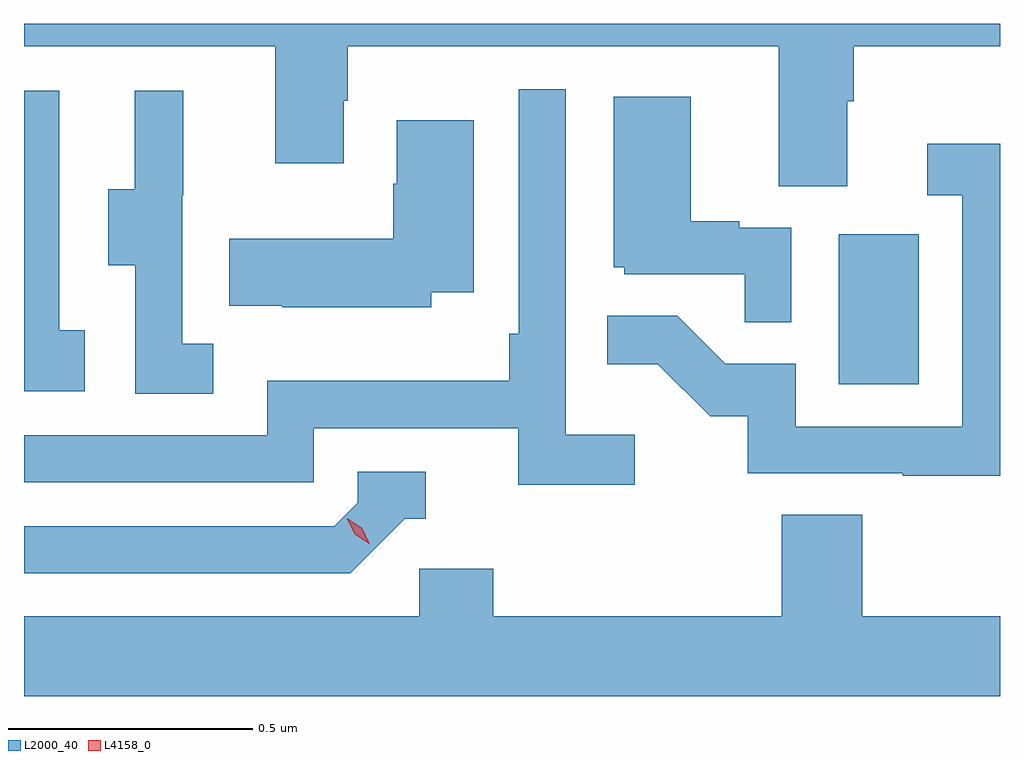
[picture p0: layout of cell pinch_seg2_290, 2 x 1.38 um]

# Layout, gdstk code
import gdstk
lib = gdstk.Library(unit=1e-6, precision=1e-09)
def R(c, l, rs):  # rectangles x0, y0, x1, y1
    for r in rs: c.add(gdstk.rectangle(r[:2], r[2:], *l))
def P(c, l, *ps):  # polygons
    for p in ps: c.add(gdstk.Polygon(p, *l))
L2000_40 = (2000, 40)
L4158_0 = (4158, 0)

pinch_seg2_290 = lib.new_cell('pinch_seg2_290')
R(pinch_seg2_290, L2000_40, [(943.028,645.612,943.192,645.919)])
P(pinch_seg2_290, L2000_40, [(943.045,646.192),(943.058,646.192),(943.058,646.304),(943.358,646.304),(943.358,646.351),(941.358,646.351),(941.358,646.304),(941.873,646.304),(941.873,646.065),(942.013,646.065),(942.013,646.193),(942.021,646.193),(942.021,646.304),(942.905,646.304),(942.905,646.018),(943.045,646.018)],
  [(942.61,645.508),(942.468,645.508),(942.468,646.216),(942.372,646.216),(942.372,645.715),(942.352,645.715),(942.352,645.619),(941.856,645.619),(941.856,645.507),(941.358,645.507),(941.358,645.411),(941.952,645.411),(941.952,645.522),(942.371,645.522),(942.371,645.406),(942.61,645.406)],
  [(941.746,645.695),(941.682,645.695),(941.682,645.999),(941.684,645.999),(941.684,646.213),(941.585,646.213),(941.585,646.011),(941.531,646.011),(941.531,645.856),(941.586,645.856),(941.586,645.592),(941.746,645.592)],
  [(941.482,645.722),(941.43,645.722),(941.43,646.213),(941.358,646.213),(941.358,645.597),(941.482,645.597)],
  [(942.93,645.933),(942.824,645.933),(942.824,645.946),(942.724,645.946),(942.724,646.201),(942.566,646.201),(942.566,645.852),(942.588,645.852),(942.588,645.837),(942.835,645.837),(942.835,645.739),(942.93,645.739)],
  [(942.193,645.8),(942.28,645.8),(942.28,646.153),(942.122,646.153),(942.122,646.023),(942.115,646.023),(942.115,645.91),(941.779,645.91),(941.779,645.773),(941.887,645.773),(941.887,645.77),(942.193,645.77)],
  [(943.358,646.105),(943.209,646.105),(943.209,645.999),(943.281,645.999),(943.281,645.525),(942.939,645.525),(942.939,645.654),(942.795,645.654),(942.697,645.752),(942.553,645.752),(942.553,645.653),(942.657,645.653),(942.764,645.546),(942.841,645.546),(942.841,645.429),(943.159,645.429),(943.159,645.424),(943.358,645.424)],
  [(942.138,645.336),(942.181,645.336),(942.181,645.432),(942.042,645.432),(942.042,645.369),(941.994,645.321),(941.358,645.321),(941.358,645.225),(942.027,645.225)],
  [(943.358,645.136),(943.076,645.136),(943.076,645.344),(942.911,645.344),(942.911,645.136),(942.32,645.136),(942.32,645.234),(942.168,645.234),(942.168,645.136),(941.358,645.136),(941.358,644.972),(943.358,644.972)])
P(pinch_seg2_290, L4158_0, [(942.066,645.284),(942.036,645.304),(942.02,645.336),(942.02,645.337),(942.02,645.337),(942.051,645.317),(942.066,645.284),(942.066,645.284)])

lib.write_gds('pinch_seg2_290.gds')
